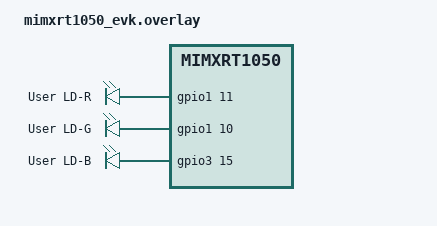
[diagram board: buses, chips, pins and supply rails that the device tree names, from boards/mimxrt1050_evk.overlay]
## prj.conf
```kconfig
# Generic networking options
CONFIG_NETWORKING=y
CONFIG_NEWLIB_LIBC=y
CONFIG_NET_UDP=y

# Socket
CONFIG_NET_SOCKETS=y
CONFIG_NET_SOCKETS_POSIX_NAMES=y
CONFIG_NET_SOCKETS_POLL_MAX=4

# CoAP
CONFIG_COAP=y
CONFIG_COAP_WELL_KNOWN_BLOCK_WISE=n

# Kernel options
CONFIG_ENTROPY_GENERATOR=y
CONFIG_TEST_RANDOM_GENERATOR=y

# Logging
CONFIG_PRINTK=y
CONFIG_NET_LOG=y

# Network Shell
CONFIG_NET_SHELL=y

CONFIG_MAIN_STACK_SIZE=2048
CONFIG_HEAP_MEM_POOL_SIZE=2048

# Configuration
CONFIG_NET_CONFIG_SETTINGS=y

# Enable only one protocol, if you enable both sources
# won't compile.
# IPv6 Support
CONFIG_NET_IPV6=n
CONFIG_NET_CONFIG_NEED_IPV6=n
CONFIG_NET_CONFIG_MY_IPV6_ADDR="2001:db8::1"
CONFIG_NET_IF_MCAST_IPV6_ADDR_COUNT=5

#IPv4 Support
CONFIG_NET_IPV4=y
CONFIG_NET_CONFIG_NEED_IPV4=y
#CONFIG_NET_CONFIG_MY_IPV4_ADDR="192.0.2.1"
CONFIG_NET_DHCPV4=y
CONFIG_NET_UDP_MISSING_CHECKSUM=y

#GPIO and HC_SR04 support
CONFIG_SENSOR=y
CONFIG_GPIO=y
CONFIG_HC_SR04=y
```

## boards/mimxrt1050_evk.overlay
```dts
/ {

    leds {
        compatible = "gpio-leds";
        r_led: led_r {
            gpios = <&gpio1 11 GPIO_ACTIVE_HIGH>;
            label = "User LD-R";
        };

        g_led: led_g {
            gpios = <&gpio1 10 GPIO_ACTIVE_HIGH>;
            label = "User LD-G";
        };

        b_led: led_b {
            gpios = <&gpio3 15 GPIO_ACTIVE_HIGH>;
            label = "User LD-B";
        };
    };

    sensors {
        distance_sensor_0: hc-sr04-0 {
            compatible = "elecfreaks,hc-sr04";
            label = "HC-SR04_0";
            trig-gpios = <&gpio1 24 GPIO_ACTIVE_HIGH>;
            echo-gpios = <&gpio1 18 GPIO_ACTIVE_HIGH>;
            status = "okay";
        };
        distance_sensor_1: hc-sr04-1 {
            compatible = "elecfreaks,hc-sr04";
            label = "HC-SR04_1";
            trig-gpios = <&gpio1 3 GPIO_ACTIVE_HIGH>;
            echo-gpios = <&gpio1 2 GPIO_ACTIVE_HIGH>;
            status = "okay";
        };

    };

 };
```

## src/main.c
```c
/* 
 * Author:- Roshan Raj Kanakaiprath
 *
 * ASU ID:- 1222478062 
 * 
 */

#include <logging/log.h>
LOG_MODULE_REGISTER(net_coap_server_sample, LOG_LEVEL_DBG);

#include <device.h>
#include <devicetree.h>
#include <drivers/gpio.h>
#include <drivers/sensor.h>
#include <fsl_iomuxc.h>
#include <errno.h>
#include <sys/printk.h>
#include <sys/byteorder.h>
#include <zephyr.h>
#include <string.h>

#include <net/socket.h>
#include <net/net_mgmt.h>
#include <net/net_ip.h>
#include <net/udp.h>
#include <net/coap.h>
#include <net/coap_link_format.h>

#include "net_private.h"

// use DT marcos to get pin information for leds

#define LED_RED DT_NODELABEL(r_led)

#define LED0	DT_GPIO_LABEL(LED_RED, gpios)
#define PIN0	DT_GPIO_PIN(LED_RED, gpios)
#define FLAGS0	DT_GPIO_FLAGS(LED_RED, gpios)

#define LED_GREEN DT_NODELABEL(g_led)

#define LED1	DT_GPIO_LABEL(LED_GREEN, gpios)
#define PIN1	DT_GPIO_PIN(LED_GREEN, gpios)
#define FLAGS1	DT_GPIO_FLAGS(LED_GREEN, gpios)

#define LED_BLUE DT_NODELABEL(b_led)

#define LED2	DT_GPIO_LABEL(LED_BLUE, gpios)
#define PIN2	DT_GPIO_PIN(LED_BLUE, gpios)
#define FLAGS2	DT_GPIO_FLAGS(LED_BLUE, gpios)

#define MAX_COAP_MSG_LEN 256

#define MY_COAP_PORT 5683

#define BLOCK_WISE_TRANSFER_SIZE_GET 2048

#define NUM_OBSERVERS 2

#define NUM_PENDINGS 3

/* CoAP socket fd */
static int sock;

static struct coap_observer observers[NUM_OBSERVERS];

static struct coap_pending pendings[NUM_PENDINGS];

static struct k_work_delayable observer_work;

static struct coap_resource *resource_to_notify0, *resource_to_notify1;

static struct k_work_delayable retransmit_work;

/* For Device Binding*/

const struct device *gpiob,*gpiob3, *sensor_dev0, *sensor_dev1;

static int ledr_val=0, ledg_val=0, ledb_val=0, led_status, measure_counter = 0;
static struct sensor_value distance0, distance1;
double prev_dist0, prev_dist1;
bool distance_change = false;

K_THREAD_STACK_DEFINE(stack_area, 512);
static struct k_thread thread_data;
uint32_t sampling_period=1000;

//Define Timer
K_TIMER_DEFINE(sync_timer, NULL, NULL);

//Routine to get measurements from distance sensor
static int measure(const struct device *dev0, const struct device *dev1)
{
    int ret;
	double dist0, dist1;
	char meas0[20], meas1[20];

    ret = sensor_sample_fetch_chan(dev0, SENSOR_CHAN_ALL);
	ret = sensor_sample_fetch_chan(dev1, SENSOR_CHAN_ALL);
    switch (ret) {
    case 0:
        ret = sensor_channel_get(dev0, SENSOR_CHAN_DISTANCE, &distance0);
		ret = sensor_channel_get(dev1, SENSOR_CHAN_DISTANCE, &distance1);
        if (ret) {
            LOG_ERR("sensor_channel_get failed ret %d", ret);
            return ret;
        }
        LOG_INF("%s: %d.%02dinches", dev0->name, distance0.val1, (distance0.val2 / 10000));
		LOG_INF("%s: %d.%02dinches", dev1->name, distance1.val1, (distance1.val2 / 10000));
		snprintk(meas0, sizeof(meas0),"%d.%02d", distance0.val1,(distance0.val2 / 10000));
		snprintk(meas1, sizeof(meas1),"%d.%02d", distance1.val1,(distance1.val2 / 10000));
		dist0 = atof(meas0);
		dist1 = atof(meas1);
		if(measure_counter)
		{
			if(abs(dist0-prev_dist0)>0.5f || abs(dist1-prev_dist1)>0.5)
			{
				distance_change = true;
				//LOG_INF("TRUE");
			}
		}
		prev_dist0 = dist0;
		prev_dist1 = dist1;
		measure_counter++;
        break;
    case -EIO:
        LOG_WRN("%s or %s: Could not read devices", dev0->name, dev1->name);
        break;
    default:
        LOG_ERR("Error when reading devices: %s or %s", dev0->name, dev1->name);
        break;
    }
    return 0;
}

void sensor_thread(void *arg1, void *arg2, void *arg3)
{
	ARG_UNUSED(arg1);
	ARG_UNUSED(arg2);
	ARG_UNUSED(arg3);
	int ret;
	k_timer_start(&sync_timer, K_MSEC(sampling_period), K_MSEC(sampling_period));
    while (1) {
        k_timer_status_sync(&sync_timer);
        ret = measure(sensor_dev0, sensor_dev1);
        if (ret) {
            return;
        }
    }
    LOG_INF("exiting");
}

static int start_coap_server(void)
{
	struct sockaddr_in addr;
	int r;

	memset(&addr, 0, sizeof(addr));
	addr.sin_family = AF_INET;
	addr.sin_port = htons(MY_COAP_PORT);

	sock = socket(addr.sin_family, SOCK_DGRAM, IPPROTO_UDP);
	if (sock < 0) {
		LOG_ERR("Failed to create UDP socket %d", errno);
		return -errno;
	}

	r = bind(sock, (struct sockaddr *)&addr, sizeof(addr));
	if (r < 0) {
		LOG_ERR("Failed to bind UDP socket %d", errno);
		return -errno;
	}

	return 0;
}

static int send_coap_reply(struct coap_packet *cpkt,
			   const struct sockaddr *addr,
			   socklen_t addr_len)
{
	int r;

	net_hexdump("Response", cpkt->data, cpkt->offset);

	r = sendto(sock, cpkt->data, cpkt->offset, 0, addr, addr_len);
	if (r < 0) {
		LOG_ERR("Failed to send %d", errno);
		r = -errno;
	}

	return r;
}

static int well_known_core_get(struct coap_resource *resource,
			       struct coap_packet *request,
			       struct sockaddr *addr, socklen_t addr_len)
{
	struct coap_packet response;
	uint8_t *data;
	int r;

	data = (uint8_t *)k_malloc(MAX_COAP_MSG_LEN);
	if (!data) {
		return -ENOMEM;
	}

	r = coap_well_known_core_get(resource, request, &response,
				     data, MAX_COAP_MSG_LEN);
	if (r < 0) {
		goto end;
	}

	r = send_coap_reply(&response, addr, addr_len);

end:
	k_free(data);

	return r;
}

static int led_get(struct coap_resource *resource,
			 struct coap_packet *request,
			 struct sockaddr *addr, socklen_t addr_len)
{
	struct coap_packet response;
	uint8_t payload[40];
	uint8_t token[COAP_TOKEN_MAX_LEN];
	uint8_t *data;
	uint16_t id;
	uint8_t code;
	uint8_t type;
	uint8_t tkl;
	int r;
	int channel = (int)((struct coap_core_metadata*)resource->user_data)->user_data;
	if(channel == 0)
    {
        led_status = ledr_val;
    }
    if(channel == 1)
    {
        led_status = ledg_val;
    }
    if(channel == 2)
    {
        led_status = ledb_val;
    }

	code = coap_header_get_code(request);
	type = coap_header_get_type(request);
	id = coap_header_get_id(request);
	tkl = coap_header_get_token(request, token);

	LOG_INF("*******");
	LOG_INF("type: %u code %u id %u", type, code, id);
	LOG_INF("*******");

	if (type == COAP_TYPE_CON) {
		type = COAP_TYPE_ACK;
	} else {
		type = COAP_TYPE_NON_CON;
	}

	data = (uint8_t *)k_malloc(MAX_COAP_MSG_LEN);
	if (!data) {
		return -ENOMEM;
	}

	r = coap_packet_init(&response, data, MAX_COAP_MSG_LEN,
			     COAP_VERSION_1, type, tkl, token,
			     COAP_RESPONSE_CODE_CONTENT, id);
	if (r < 0) {
		goto end;
	}

	r = coap_append_option_int(&response, COAP_OPTION_CONTENT_FORMAT,
				   COAP_CONTENT_FORMAT_TEXT_PLAIN);
	if (r < 0) {
		goto end;
	}

	r = coap_packet_append_payload_marker(&response);
	if (r < 0) {
		goto end;
	}

	/* The response that coap-client expects */
	if(led_status)
	{
		r = snprintk((char *) payload, sizeof(payload),"ON");
	}
	else{
		r = snprintk((char *) payload, sizeof(payload), "OFF");		
	}
	if (r < 0) {
		goto end;
	}

	r = coap_packet_append_payload(&response, (uint8_t *)payload,
				       strlen(payload));
	if (r < 0) {
		goto end;
	}

	r = send_coap_reply(&response, addr, addr_len);

end:
	k_free(data);

	return r;
}

static int led_put(struct coap_resource *resource,
		    struct coap_packet *request,
		    struct sockaddr *addr, socklen_t addr_len)
{
	struct coap_packet response;
	uint8_t token[COAP_TOKEN_MAX_LEN];
	const uint8_t *payload;
	uint8_t *data;
	uint16_t payload_len;
	uint8_t code;
	uint8_t type;
	uint8_t tkl;
	uint16_t id;
	int r;

    int channel = (int)((struct coap_core_metadata*)resource->user_data)->user_data;

	code = coap_header_get_code(request);
	type = coap_header_get_type(request);
	id = coap_header_get_id(request);
	tkl = coap_header_get_token(request, token);

	LOG_INF("*******");
	LOG_INF("type: %u code %u id %u", type, code, id);
	LOG_INF("*******");

	payload = coap_packet_get_payload(request, &payload_len);
	if (payload) {
		net_hexdump("PUT Payload", payload, payload_len);
	}
    
    if(channel == 0)
    {
        ledr_val = atoi((char*)payload);
        gpio_pin_set(gpiob, PIN0, ledr_val);
    }
    
    if(channel == 1)
    {
        ledg_val = atoi((char*)payload);
        gpio_pin_set(gpiob, PIN1, ledg_val);
    }
    if(channel == 2)
    {
        ledb_val = atoi((char*)payload);
        gpio_pin_set(gpiob3, PIN2, ledb_val);
    }

	if (type == COAP_TYPE_CON) {
		type = COAP_TYPE_ACK;
	} else {
		type = COAP_TYPE_NON_CON;
	}

	data = (uint8_t *)k_malloc(MAX_COAP_MSG_LEN);
	if (!data) {
		return -ENOMEM;
	}

	r = coap_packet_init(&response, data, MAX_COAP_MSG_LEN,
			     COAP_VERSION_1, type, tkl, token,
			     COAP_RESPONSE_CODE_CHANGED, id);
	if (r < 0) {
		goto end;
	}

	r = send_coap_reply(&response, addr, addr_len);

end:
	k_free(data);

	return r;
}

static void update_distance(struct k_work *work)
{

	if(distance_change == true)
	{
		if(resource_to_notify0)
		{
			coap_resource_notify(resource_to_notify0);
		}
		if(resource_to_notify1)
		{
			coap_resource_notify(resource_to_notify1);
		}
	}
	distance_change = false;	
	k_work_reschedule(&observer_work, K_SECONDS(2));
}
static void retransmit_request(struct k_work *work)
{
	struct coap_pending *pending;

	pending = coap_pending_next_to_expire(pendings, NUM_PENDINGS);
	if (!pending) {
		return;
	}

	if (!coap_pending_cycle(pending)) {
		k_free(pending->data);
		coap_pending_clear(pending);
		return;
	}

	k_work_reschedule(&retransmit_work, K_MSEC(pending->timeout));
}

static int create_pending_request(struct coap_packet *response,
				  const struct sockaddr *addr)
{
	struct coap_pending *pending;
	int r;

	pending = coap_pending_next_unused(pendings, NUM_PENDINGS);
	if (!pending) {
		return -ENOMEM;
	}

	r = coap_pending_init(pending, response, addr,
			      COAP_DEFAULT_MAX_RETRANSMIT);
	if (r < 0) {
		return -EINVAL;
	}

	coap_pending_cycle(pending);

	pending = coap_pending_next_to_expire(pendings, NUM_PENDINGS);
	if (!pending) {
		return 0;
	}

	k_work_reschedule(&retransmit_work, K_MSEC(pending->timeout));

	return 0;
}

static int send_notification_packet(const struct sockaddr *addr,
				    socklen_t addr_len,
				    uint16_t age, uint16_t id,
				    const uint8_t *token, uint8_t tkl,
				    bool is_response, const struct sensor_value distance)
{
	struct coap_packet response;
	char payload[40];
	uint8_t *data;
	uint8_t type;
	int r;

	if (is_response) {
		type = COAP_TYPE_ACK;
	} else {
		type = COAP_TYPE_CON;
	}

	if (!is_response) {
		id = coap_next_id();
	}

	data = (uint8_t *)k_malloc(MAX_COAP_MSG_LEN);
	if (!data) {
		return -ENOMEM;
	}

	r = coap_packet_init(&response, data, MAX_COAP_MSG_LEN,
			     COAP_VERSION_1, type, tkl, token,
			     COAP_RESPONSE_CODE_CONTENT, id);
	if (r < 0) {
		goto end;
	}

	if (age >= 2U) {
		r = coap_append_option_int(&response, COAP_OPTION_OBSERVE, age);
		if (r < 0) {
			goto end;
		}
	}

	r = coap_append_option_int(&response, COAP_OPTION_CONTENT_FORMAT,
				   COAP_CONTENT_FORMAT_TEXT_PLAIN);
	if (r < 0) {
		goto end;
	}

	r = coap_packet_append_payload_marker(&response);
	if (r < 0) {
		goto end;
	}

	/* The response that coap-client expects */
	r = snprintk((char *) payload, sizeof(payload),
		     "%d.%02d inches\n", distance.val1,(distance.val2 / 10000));
	if (r < 0) {
		goto end;
	}

	r = coap_packet_append_payload(&response, (uint8_t *)payload,
				       strlen(payload));
	if (r < 0) {
		goto end;
	}

	if (type == COAP_TYPE_CON) {
		r = create_pending_request(&response, addr);
		if (r < 0) {
			goto end;
		}
	}

	k_work_reschedule(&observer_work, K_SECONDS(2));

	r = send_coap_reply(&response, addr, addr_len);

	/* On succesfull creation of pending request, do not free memory */
	if (type == COAP_TYPE_CON) {
		return r;
	}

end:
	k_free(data);

	return r;
}

static int hcsr_get(struct coap_resource *resource,
		   struct coap_packet *request,
		   struct sockaddr *addr, socklen_t addr_len)
{
	struct coap_observer *observer;
	uint8_t token[COAP_TOKEN_MAX_LEN];
	uint16_t id;
	uint8_t code;
	uint8_t type;
	uint8_t tkl;
	bool observe = true;
	struct sensor_value distance;
	int sensor = (int)((struct coap_core_metadata*)resource->user_data)->user_data;

	if(sensor == 0)
	{
		distance = distance0;
	}
	else{
		distance = distance1;
	}

	if (!coap_request_is_observe(request)) {
		observe = false;
		goto done;
	}

	observer = coap_observer_next_unused(observers, NUM_OBSERVERS);
	if (!observer) {
		return -ENOMEM;
	}

	coap_observer_init(observer, request, addr);

	coap_register_observer(resource, observer);

	if(sensor == 0){
		resource_to_notify0 = resource;}
	else{
		resource_to_notify1 = resource;}
done:
	code = coap_header_get_code(request);
	type = coap_header_get_type(request);
	id = coap_header_get_id(request);
	tkl = coap_header_get_token(request, token);

	LOG_INF("*******");
	LOG_INF("type: %u code %u id %u", type, code, id);
	LOG_INF("*******");

	return send_notification_packet(addr, addr_len,
					observe ? resource->age : 0,
					id, token, tkl, true,distance);
}

static void hcsr_notify(struct coap_resource *resource,
		       struct coap_observer *observer)
{	
	struct sensor_value distance;
	int sensor = (int)((struct coap_core_metadata*)resource->user_data)->user_data;
	if(sensor == 0)
	{
		distance = distance0;
	}
	else{
		distance = distance1;
	}

	send_notification_packet(&observer->addr,
				 sizeof(observer->addr),
				 resource->age, 0,
				 observer->token, observer->tkl, false, distance);
}


static int sensor_period_put(struct coap_resource *resource,
		    struct coap_packet *request,
		    struct sockaddr *addr, socklen_t addr_len)
{
	struct coap_packet response;
	uint8_t token[COAP_TOKEN_MAX_LEN];
	const uint8_t *payload;
	uint8_t *data;
	uint16_t payload_len;
	uint8_t code;
	uint8_t type;
	uint8_t tkl;
	uint16_t id;
	int r;

	code = coap_header_get_code(request);
	type = coap_header_get_type(request);
	id = coap_header_get_id(request);
	tkl = coap_header_get_token(request, token);

	LOG_INF("*******");
	LOG_INF("type: %u code %u id %u", type, code, id);
	LOG_INF("*******");

	payload = coap_packet_get_payload(request, &payload_len);
	if (payload) {
		net_hexdump("PUT Payload", payload, payload_len);
	}
    
    sampling_period = atoi((char*)payload);
	k_timer_start(&sync_timer, K_MSEC(sampling_period), K_MSEC(sampling_period));


	if (type == COAP_TYPE_CON) {
		type = COAP_TYPE_ACK;
	} else {
		type = COAP_TYPE_NON_CON;
	}

	data = (uint8_t *)k_malloc(MAX_COAP_MSG_LEN);
	if (!data) {
		return -ENOMEM;
	}

	r = coap_packet_init(&response, data, MAX_COAP_MSG_LEN,
			     COAP_VERSION_1, type, tkl, token,
			     COAP_RESPONSE_CODE_CHANGED, id);
	if (r < 0) {
		goto end;
	}

	r = send_coap_reply(&response, addr, addr_len);

end:
	k_free(data);

	return r;
}

static const char * const led_r_path[] = { "led", "led_r", NULL };
static const char * const led_g_path[] = { "led", "led_g", NULL };
static const char * const led_b_path[] = { "led", "led_b", NULL };
static const char * const hcsr_0_path[] = { "sensor", "hcsr_0", NULL };
static const char * const hcsr_1_path[] = { "sensor", "hcsr_1", NULL };
static const char * const hcsr_period_path[] = { "sensor", "period", NULL };

static struct coap_resource resources[] = {
	{ .get = well_known_core_get,
	  .path = COAP_WELL_KNOWN_CORE_PATH,
	},
	{ .get = led_get,
	  .put = led_put,
	  .path = led_r_path,
      .user_data = &((struct coap_core_metadata){
            .attributes = NULL,
            .user_data = (void*)0,
        }),
	},
	{ .get = led_get,
	  .put = led_put,
	  .path = led_g_path,
      .user_data = &((struct coap_core_metadata){
            .attributes = NULL,
            .user_data = (void*)1,
        }),
	},
	{ .get = led_get,
	  .put = led_put,
	  .path = led_b_path,
      .user_data = &((struct coap_core_metadata){
            .attributes = NULL,
            .user_data = (void*)2,
        }),
	},
	{ .get = hcsr_get,
	  .path = hcsr_0_path,
      .user_data = &((struct coap_core_metadata){
            .attributes = NULL,
            .user_data = (void*)0,
        }),
	  .notify = hcsr_notify,
	},
	{ .get = hcsr_get,
	  .path = hcsr_1_path,
      .user_data = &((struct coap_core_metadata){
            .attributes = NULL,
            .user_data = (void*)1,
        }),
	  .notify = hcsr_notify,
	},
	{ .put = sensor_period_put,
	  .path = hcsr_period_path,
	},	
    { },
};

//Routine to find resources by observer
static struct coap_resource *find_resouce_by_observer(
		struct coap_resource *resources, struct coap_observer *o)
{
	struct coap_resource *r;

	for (r = resources; r && r->path; r++) {
		sys_snode_t *node;

		SYS_SLIST_FOR_EACH_NODE(&r->observers, node) {
			if (&o->list == node) {
				return r;
			}
		}
	}

	return NULL;
}

//Routine to process request
static void process_coap_request(uint8_t *data, uint16_t data_len,
				 struct sockaddr *client_addr,
				 socklen_t client_addr_len)
{
	struct coap_packet request;
	struct coap_pending *pending;
	struct coap_option options[16] = { 0 };
	uint8_t opt_num = 16U;
	uint8_t type;
	int r;

	r = coap_packet_parse(&request, data, data_len, options, opt_num);
	if (r < 0) {
		LOG_ERR("Invalid data received (%d)\n", r);
		return;
	}

	type = coap_header_get_type(&request);

	pending = coap_pending_received(&request, pendings, NUM_PENDINGS);
	if (!pending) {
		goto not_found;
	}

	/* Clear CoAP pending request */
	if (type == COAP_TYPE_ACK) {
		k_free(pending->data);
		coap_pending_clear(pending);
	}

	return;

not_found:

	if (type == COAP_TYPE_RESET) {
		struct coap_resource *r;
		struct coap_observer *o;

		o = coap_find_observer_by_addr(observers, NUM_OBSERVERS,
					       client_addr);
		if (!o) {
			LOG_ERR("Observer not found\n");
			goto end;
		}

		r = find_resouce_by_observer(resources, o);
		if (!r) {
			LOG_ERR("Observer found but Resource not found\n");
			goto end;
		}

		coap_remove_observer(r, o);

		return;
	}

end:
	r = coap_handle_request(&request, resources, options, opt_num,
				client_addr, client_addr_len);
	if (r < 0) {
		LOG_WRN("No handler for such request (%d)\n", r);
	}
}

//Routine to process client request
static int process_client_request(void)
{
	int received;
	struct sockaddr client_addr;
	socklen_t client_addr_len;
	uint8_t request[MAX_COAP_MSG_LEN];

	do {
		client_addr_len = sizeof(client_addr);
		received = recvfrom(sock, request, sizeof(request), 0,
				    &client_addr, &client_addr_len);
		if (received < 0) {
			LOG_ERR("Connection error %d", errno);
			return -errno;
		}

		process_coap_request(request, received, &client_addr,
				     client_addr_len);
	} while (true);

	return 0;
}

//Main Rotine
void main(void)
{
	int r, ret;

	LOG_DBG("Start CoAP-server");

	k_tid_t tid = k_thread_create(&thread_data, stack_area,
                                 K_THREAD_STACK_SIZEOF(stack_area),
                                 sensor_thread,
                                 NULL, NULL, NULL,
                                 0, 0, K_FOREVER);
	// hard-coded statements to set up IOMUX for led and interrupt pins
	IOMUXC_SetPinMux(IOMUXC_GPIO_AD_B0_10_GPIO1_IO10, 0);

	IOMUXC_SetPinConfig(IOMUXC_GPIO_AD_B0_10_GPIO1_IO10,
			    IOMUXC_SW_PAD_CTL_PAD_PUE(1) |
			    IOMUXC_SW_PAD_CTL_PAD_PKE_MASK |
			    IOMUXC_SW_PAD_CTL_PAD_SPEED(2) |
			    IOMUXC_SW_PAD_CTL_PAD_DSE(6));

	IOMUXC_SetPinMux(IOMUXC_GPIO_AD_B0_11_GPIO1_IO11, 0);

	IOMUXC_SetPinConfig(IOMUXC_GPIO_AD_B0_11_GPIO1_IO11,
			    IOMUXC_SW_PAD_CTL_PAD_PUE(1) |
			    IOMUXC_SW_PAD_CTL_PAD_PKE_MASK |
			    IOMUXC_SW_PAD_CTL_PAD_SPEED(2) |
			    IOMUXC_SW_PAD_CTL_PAD_DSE(6));

	IOMUXC_SetPinMux(IOMUXC_GPIO_SD_B0_03_GPIO3_IO15, 0);

	IOMUXC_SetPinConfig(IOMUXC_GPIO_SD_B0_03_GPIO3_IO15,
			    IOMUXC_SW_PAD_CTL_PAD_PUE(1) |
			    IOMUXC_SW_PAD_CTL_PAD_PKE_MASK |
			    IOMUXC_SW_PAD_CTL_PAD_SPEED(2) |
			    IOMUXC_SW_PAD_CTL_PAD_DSE(6));

	IOMUXC_SetPinMux(IOMUXC_GPIO_AD_B1_08_GPIO1_IO24, 0);

	IOMUXC_SetPinConfig(IOMUXC_GPIO_AD_B1_08_GPIO1_IO24,
			    IOMUXC_SW_PAD_CTL_PAD_PUE(1) |
			    IOMUXC_SW_PAD_CTL_PAD_PKE_MASK |
			    IOMUXC_SW_PAD_CTL_PAD_SPEED(2) |
			    IOMUXC_SW_PAD_CTL_PAD_DSE(6));

	IOMUXC_SetPinMux(IOMUXC_GPIO_AD_B1_02_GPIO1_IO18, 0);

	IOMUXC_SetPinConfig(IOMUXC_GPIO_AD_B1_02_GPIO1_IO18,
			    IOMUXC_SW_PAD_CTL_PAD_PUE(1) |
			    IOMUXC_SW_PAD_CTL_PAD_PKE_MASK |
			    IOMUXC_SW_PAD_CTL_PAD_SPEED(2) |
			    IOMUXC_SW_PAD_CTL_PAD_DSE(6));

	IOMUXC_SetPinMux(IOMUXC_GPIO_AD_B0_03_GPIO1_IO03, 0);

	IOMUXC_SetPinConfig(IOMUXC_GPIO_AD_B0_03_GPIO1_IO03,
			    IOMUXC_SW_PAD_CTL_PAD_PUE(1) |
			    IOMUXC_SW_PAD_CTL_PAD_PKE_MASK |
			    IOMUXC_SW_PAD_CTL_PAD_SPEED(2) |
			    IOMUXC_SW_PAD_CTL_PAD_DSE(6));

	IOMUXC_SetPinMux(IOMUXC_GPIO_AD_B0_02_GPIO1_IO02, 0);

	IOMUXC_SetPinConfig(IOMUXC_GPIO_AD_B0_02_GPIO1_IO02,
			    IOMUXC_SW_PAD_CTL_PAD_PUE(1) |
			    IOMUXC_SW_PAD_CTL_PAD_PKE_MASK |
			    IOMUXC_SW_PAD_CTL_PAD_SPEED(2) |
			    IOMUXC_SW_PAD_CTL_PAD_DSE(6));
	
	//Get Device bindings
	sensor_dev0 = device_get_binding("HC-SR04_0");
	if (!sensor_dev0) {
		printk("error binding sensor 0\n");
		return;
	}
	//LOG_INF("dev is %p, name is %s", dev, dev->name);
	sensor_dev1 = device_get_binding("HC-SR04_1");
	if (!sensor_dev1) {
		printk("error binding sensor 1\n");
		return;
	}

    gpiob=device_get_binding(LED0);
	if (!gpiob) {
		printk("error binding gpio1\n");
		return;
	}
	gpiob3=device_get_binding(LED2);
	if (!gpiob3) {
		printk("error binding gpio3\n");
		return;
	} 

	//Configure GPIOs
    ret=gpio_pin_configure(gpiob, PIN0, GPIO_OUTPUT_ACTIVE | FLAGS0); 
	if(ret<0)
		printk("error configuring gpio pin 11 \n");

	ret=gpio_pin_configure(gpiob, PIN1, GPIO_OUTPUT_ACTIVE | FLAGS1); 
	if(ret<0)
		printk("error configuring gpio pin 10 \n");

	ret=gpio_pin_configure(gpiob3, PIN2, GPIO_OUTPUT_ACTIVE | FLAGS2); 
	if(ret<0)
		printk("error configuring gpio pin 15 \n");
	//Set all channels of Led to OFF
    gpio_pin_set(gpiob, PIN0, ledr_val);
    gpio_pin_set(gpiob, PIN1, ledg_val);
    gpio_pin_set(gpiob3, PIN2, ledb_val);
	//Set previous measurements of distance sensors to zero
	prev_dist0 = 0.0f;
	prev_dist1 = 0.0f;

	//Start the Coap Server
	r = start_coap_server();
	if (r < 0) {
		goto quit;
	}

	//Start thread for distance measurement
	k_thread_start(tid);

	k_work_init_delayable(&retransmit_work, retransmit_request);
	k_work_init_delayable(&observer_work, update_distance);

	while (1) {
		r = process_client_request();
		if (r < 0) {
			goto quit;
		}
	}

	LOG_DBG("Done");
	return;

quit:
	LOG_ERR("Quit");
}
```
